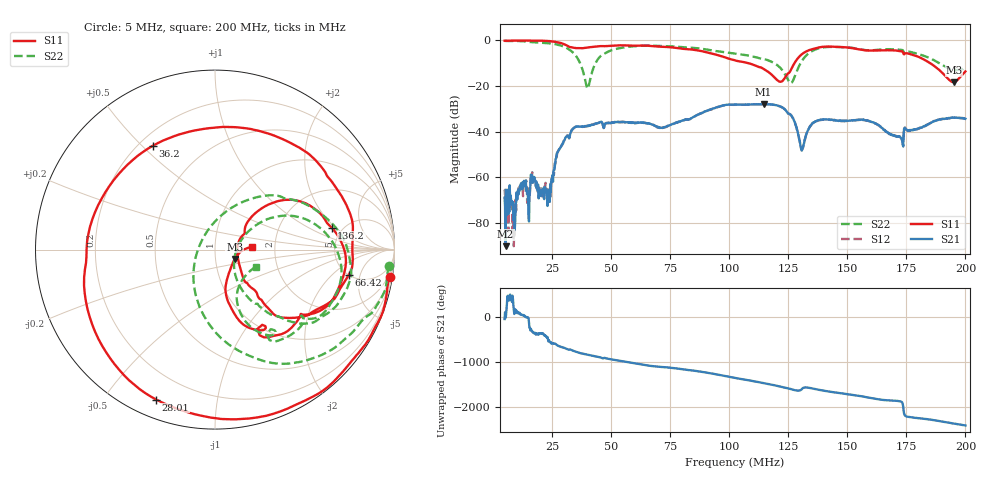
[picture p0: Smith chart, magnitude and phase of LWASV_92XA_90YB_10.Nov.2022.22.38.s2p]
!Keysight Technologies N9917A: A.12.46
!Date: Thursday, 10 November 2022 22:38:57
!Timezone: (UTC) Coordinated Universal Time
!Model: N9917A
!Serial: MY56071016
!GPS Latitude:
!GPS Longitude:
!GPS TimeStamp: 0001-01-01 00:00:00Z
!GPS Seconds Since Last Read: 0
!CHECKSUM:0976826269
!Correction: S11(ON U)S21(ON U)S12(ON U)S22(ON U)
!S2P File: Measurements:S11,S21,S12,S22:
# Hz S DB R 50
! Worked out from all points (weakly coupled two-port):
!   1001 points, 5 MHz to 200 MHz, reference 50 ohm
!   highest |S21| = -27.92 dB at 114.6 MHz (marker M1); lowest = -90.2 dB at 5.39 MHz (marker M2)
!   lowest |S11| = -18.3 dB at 195.1 MHz (marker M3), VSWR 1.28, Z = 62 - j6.52 ohm
!   |S11| at or under -10 dB: 108.2 MHz to 127.6 MHz (19.45 MHz wide, 16.5 % of centre); 185.1 MHz to end of sweep
!   |S22| runs from -21.1 to -0.2 dB; largest |S21 - S12| = 0.0011
!   S11 on the Smith chart (normalised r, x): 5 MHz: 1, -13; 28.01 MHz: 0.08, -0.68; 36.2 MHz: 0.25, +0.54; 66.42 MHz: 4.99, -3.33; 136.2 MHz: 4.09, +1.78; 200 MHz: 1.52, +0.05
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5000000  -0.14 -8.9  -68.93 -49.5  -65.45 24.2  -0.23 -5.3
5390000  -0.15 -9.8  -90.20 -24.6  -64.67 100.6  -0.25 -6.0
8900000  -0.05 -17.9  -77.08 172.4  -90.20 -29.9  -0.23 -11.8
1.709e7  -0.15 -40.7  -60.55 23.9  -60.33 23.8  -0.82 -25.8
2.3525e7  -0.27 -71.6  -70.93 173.1  -68.62 -127.4  -1.24 -38.2
2.801e7  -0.94 -111.4  -47.77 66.8  -47.90 66.8  -2.05 -52.1
3.2105e7  -2.70 -171.3  -42.40 -12.6  -42.28 -12.9  -3.85 -70.0
3.62e7  -3.42 120.8  -37.68 -75.3  -37.66 -75.1  -8.42 -98.8
3.7565e7  -3.45 102.1  -37.78 -95.1  -37.75 -93.8  -11.58 -114.8
4.0295e7  -3.09 73.3  -37.37 -124.7  -37.39 -125.4  -20.93 142.5
4.517e7  -2.51 42.6  -36.03 -177.9  -36.02 -177.5  -7.35 44.8
6.6425e7  -2.40 -10.8  -36.40 -9.7  -36.67 -9.0  -2.26 -13.2
7.013e7  -2.70 -16.8  -38.19 -32.5  -38.13 -32.2  -2.37 -18.4
1.025e8  -8.74 -47.8  -28.18 81.2  -28.27 82.3  -5.77 -46.5
1.1459e8  -12.50 -46.5  -27.92 -33.7  -27.99 -33.3  -8.29 -51.8
1.26095e8  -13.06 38.7  -32.58 -166.8  -32.73 -167.2  -18.75 -14.1
1.30775e8  -6.08 34.0  -48.33 -167.9  -47.90 -167.1  -9.08 29.8
1.35065e8  -3.92 14.7  -36.62 -152.1  -36.72 -151.6  -4.70 13.5
1.36235e8  -3.59 10.6  -35.69 -165.5  -35.80 -165.7  -4.10 8.4
1.6763e8  -4.30 -45.4  -40.77 -60.2  -40.85 -60.3  -3.86 -43.9
1.95125e8  -18.30 -25.2  -33.85 144.4  -33.87 144.7  -12.93 -46.0
2e8  -13.61 4.4  -34.32 102.7  -34.18 103.2  -12.18 -23.1
